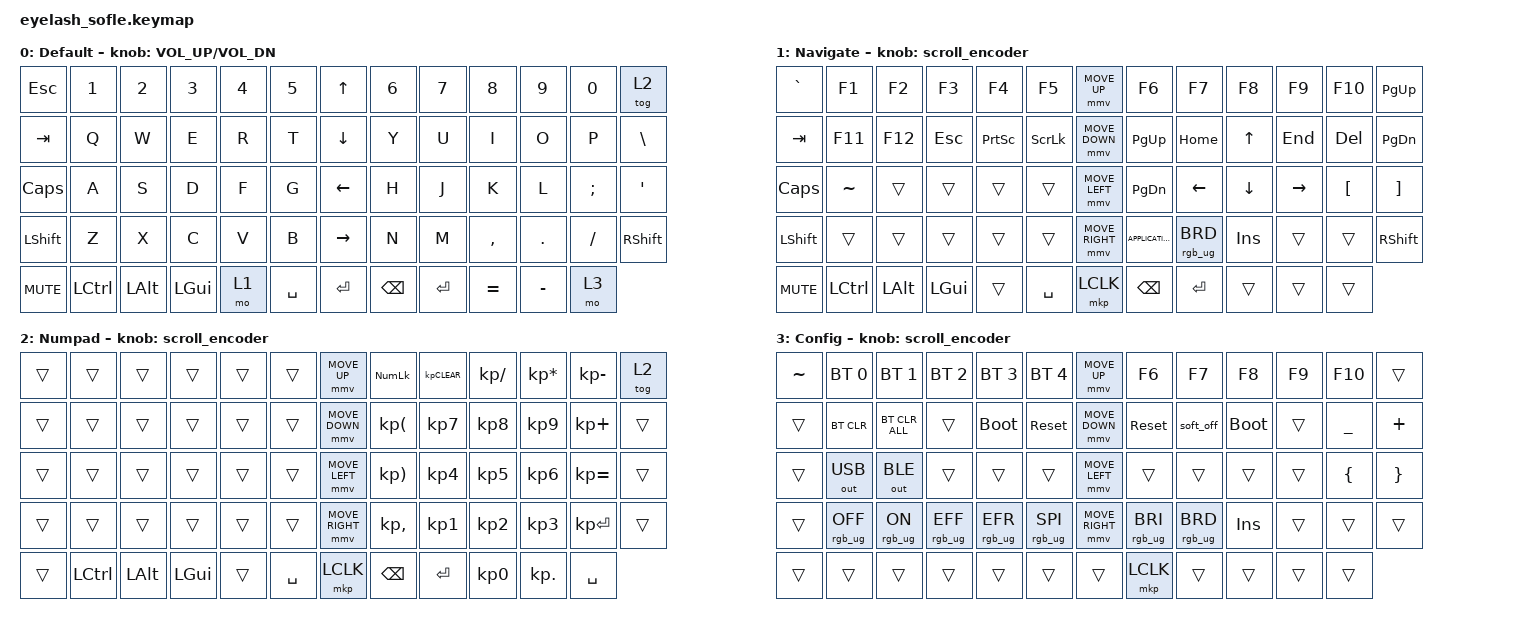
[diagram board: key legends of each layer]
#define ZMK_POINTING_DEFAULT_MOVE_VAL 1200  // 600
#define ZMK_POINTING_DEFAULT_SCRL_VAL 25   // 10

#include <input/processors.dtsi>
#include <zephyr/dt-bindings/input/input-event-codes.h>
#include <behaviors.dtsi>
#include <dt-bindings/zmk/bt.h>
#include <dt-bindings/zmk/ext_power.h>
#include <dt-bindings/zmk/keys.h>
#include <dt-bindings/zmk/pointing.h>
#include <dt-bindings/zmk/rgb.h>
#include <dt-bindings/zmk/outputs.h>

&mmv_input_listener { input-processors = <&zip_xy_scaler 2 1>; };

&msc_input_listener { input-processors = <&zip_scroll_scaler 2 1>; };

&msc {
    acceleration-exponent = <1>;      // 0
    time-to-max-speed-ms = <100>;       // 300
    delay-ms = <0>;                   // 0
};

&mmv {
    time-to-max-speed-ms = <500>;
    acceleration-exponent = <1>;
    trigger-period-ms = <16>;
};


/ {

    scroll_encoder: scroll_encoder {
        compatible = "zmk,behavior-sensor-rotate";
        #sensor-binding-cells = <0>;
        bindings = <&msc SCRL_DOWN>, <&msc SCRL_UP>;
        tap-ms = <100>;
    };

    keymap {
        compatible = "zmk,keymap";

        layer0 {
            bindings = <
&kp ESC     &kp N1     &kp N2        &kp N3        &kp N4  &kp N5       &kp UP_ARROW     &kp N6     &kp N7     &kp N8     &kp N9           &kp N0      &tog 2
&kp TAB     &kp Q      &kp W         &kp E         &kp R   &kp T        &kp DOWN_ARROW   &kp Y      &kp U      &kp I      &kp O            &kp P       &kp BSLH
&kp CAPS    &kp A      &kp S         &kp D         &kp F   &kp G        &kp LEFT_ARROW   &kp H      &kp J      &kp K      &kp L            &kp SEMI    &kp APOS
&kp LSHFT   &kp Z      &kp X         &kp C         &kp V   &kp B        &kp RIGHT_ARROW  &kp N      &kp M      &kp COMMA  &kp DOT          &kp FSLH    &kp RSHFT
&kp C_MUTE  &kp LCTRL  &kp LEFT_ALT  &kp LEFT_GUI  &mo 1   &kp SPACE    &kp ENTER        &kp BACKSPACE  &kp ENTER  &kp EQUAL   &kp MINUS  &mo 3
            >;

            sensor-bindings = <&inc_dec_kp C_VOLUME_UP C_VOL_DN>;
            display-name = "Default";
        };

        layer_1 {
            bindings = <
&kp GRAVE   &kp F1      &kp F2          &kp F3           &kp F4           &kp F5             &mmv MOVE_UP     &kp F6           &kp F7           &kp F8      &kp F9     &kp F10           &kp PG_UP
&kp TAB     &kp F11     &kp F12         &kp ESC          &kp PSCRN        &kp SCROLLLOCK     &mmv MOVE_DOWN   &kp PG_UP        &kp HOME         &kp UP      &kp END    &kp DEL           &kp PG_DN
&kp CAPS    &kp TILDE   &trans          &trans           &trans           &trans             &mmv MOVE_LEFT   &kp PG_DN        &kp LEFT         &kp DOWN    &kp RIGHT  &kp LEFT_BRACKET  &kp RIGHT_BRACKET
&kp LSHFT   &trans      &trans          &trans           &trans           &trans             &mmv MOVE_RIGHT  &kp K_APPLICATION  &rgb_ug RGB_BRD  &kp INSERT  &trans       &trans           &kp RSHFT
&kp C_MUTE  &kp LCTRL  &kp LEFT_ALT  &kp LEFT_GUI  &trans   &kp SPACE             &mkp LCLK        &kp BACKSPACE          &kp ENTER           &trans      &trans     &trans
            >;

            sensor-bindings = <&scroll_encoder>;
            display-name = "Navigate";
        };

        layer_2 {
            bindings = <
&trans  &trans  &trans  &trans  &trans  &trans    &mmv MOVE_UP    &kp KP_NUMLOCK  &kp KP_CLEAR  &kp KP_DIVIDE  &kp KP_MULTIPLY  &kp KP_MINUS  &tog 2  
&trans  &trans  &trans  &trans  &trans  &trans    &mmv MOVE_DOWN    &kp KP_LPAR     &kp KP_N7     &kp KP_N8      &kp KP_N9        &kp KP_PLUS   &trans 
&trans  &trans  &trans  &trans  &trans  &trans    &mmv MOVE_LEFT    &kp KP_RPAR     &kp KP_N4     &kp KP_N5      &kp KP_N6        &kp KP_EQUAL  &trans 
&trans  &trans  &trans  &trans  &trans  &trans    &mmv MOVE_RIGHT    &kp KP_COMMA          &kp KP_N1     &kp KP_N2      &kp KP_N3        &kp KP_ENTER  &trans  
&trans  &kp LCTRL  &kp LEFT_ALT  &kp LEFT_GUI  &trans  &kp SPACE    &mkp LCLK    &kp BACKSPACE      &kp ENTER     &kp KP_N0      &kp KP_DOT  &kp SPACE      
            >;

            sensor-bindings = <&scroll_encoder>;
            display-name = "Numpad";
        };

        layer_3 {
            bindings = <
&kp TILDE  &bt BT_SEL 0     &bt BT_SEL 1    &bt BT_SEL 2      &bt BT_SEL 3      &bt BT_SEL 4          &mmv MOVE_UP         &kp F6          &kp F7  &kp F8      &kp F9     &kp F10      &trans
&trans     &bt BT_CLR       &bt BT_CLR_ALL  &trans            &bootloader       &sys_reset            &mmv MOVE_DOWN       &sys_reset      &soft_off  &bootloader     &trans    &kp UNDER    &kp PLUS
&trans     &out OUT_USB     &out OUT_BLE    &trans            &trans            &trans                &mmv MOVE_LEFT       &trans          &trans  &trans      &trans     &kp LBRC     &kp RBRC
&trans     &rgb_ug RGB_OFF  &rgb_ug RGB_ON  &rgb_ug RGB_EFF   &rgb_ug RGB_EFR   &rgb_ug RGB_SPI       &mmv MOVE_RIGHT      &rgb_ug RGB_BRI  &rgb_ug RGB_BRD  &kp INSERT  &trans     &trans      &trans     
&trans     &trans           &trans          &trans            &trans            &trans                &trans               &mkp LCLK        &trans  &trans  &trans      &trans
            >;

            sensor-bindings = <&scroll_encoder>;
            display-name = "Config";
        };
    };
};
